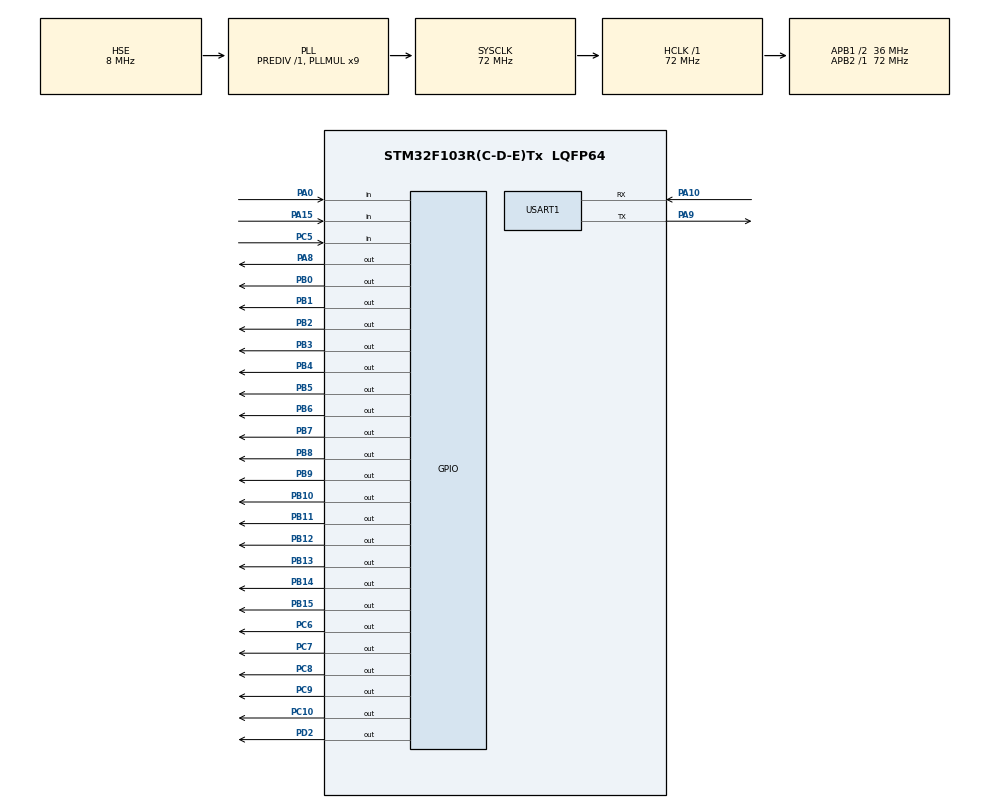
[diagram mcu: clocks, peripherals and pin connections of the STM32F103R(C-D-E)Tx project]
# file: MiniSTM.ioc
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Mcu.Family=STM32F1
Mcu.Name=STM32F103R(C-D-E)Tx
Mcu.Package=LQFP64
NVIC.PriorityGroup=NVIC_PRIORITYGROUP_4
PA0-WKUP.GPIO_PuPd=GPIO_PULLDOWN
PA0-WKUP.Signal=GPIO_Input
PA10.Mode=Asynchronous
PA10.Signal=USART1_RX
PA13.Mode=Serial_Wire
PA13.Signal=SYS_JTMS-SWDIO
PA14.Mode=Serial_Wire
PA14.Signal=SYS_JTCK-SWCLK
PA15.GPIO_PuPd=GPIO_PULLUP
PA15.Signal=GPIO_Input
PA8.GPIO_PuPd=GPIO_PULLUP
PA8.Signal=GPIO_Output
PA9.Mode=Asynchronous
PA9.Signal=USART1_TX
PB0.GPIO_PuPd=GPIO_PULLUP
PB0.GPIO_Speed=GPIO_SPEED_FREQ_HIGH
PB0.Signal=GPIO_Output
PB1.GPIO_PuPd=GPIO_PULLUP
PB1.GPIO_Speed=GPIO_SPEED_FREQ_HIGH
PB1.Signal=GPIO_Output
PB10.GPIO_PuPd=GPIO_PULLUP
PB10.GPIO_Speed=GPIO_SPEED_FREQ_HIGH
PB10.Signal=GPIO_Output
PB11.GPIO_PuPd=GPIO_PULLUP
PB11.GPIO_Speed=GPIO_SPEED_FREQ_HIGH
PB11.Signal=GPIO_Output
PB12.GPIO_PuPd=GPIO_PULLUP
PB12.GPIO_Speed=GPIO_SPEED_FREQ_HIGH
PB12.Signal=GPIO_Output
PB13.GPIO_PuPd=GPIO_PULLUP
PB13.GPIO_Speed=GPIO_SPEED_FREQ_HIGH
PB13.Signal=GPIO_Output
PB14.GPIO_PuPd=GPIO_PULLUP
PB14.GPIO_Speed=GPIO_SPEED_FREQ_HIGH
PB14.Signal=GPIO_Output
PB15.GPIO_PuPd=GPIO_PULLUP
PB15.GPIO_Speed=GPIO_SPEED_FREQ_HIGH
PB15.Signal=GPIO_Output
PB2.GPIO_PuPd=GPIO_PULLUP
PB2.GPIO_Speed=GPIO_SPEED_FREQ_HIGH
PB2.Signal=GPIO_Output
PB3.GPIO_PuPd=GPIO_PULLUP
PB3.GPIO_Speed=GPIO_SPEED_FREQ_HIGH
PB3.Signal=GPIO_Output
PB4.GPIO_PuPd=GPIO_PULLUP
PB4.GPIO_Speed=GPIO_SPEED_FREQ_HIGH
PB4.Signal=GPIO_Output
PB5.GPIO_PuPd=GPIO_PULLUP
PB5.GPIO_Speed=GPIO_SPEED_FREQ_HIGH
PB5.Signal=GPIO_Output
PB6.GPIO_PuPd=GPIO_PULLUP
PB6.GPIO_Speed=GPIO_SPEED_FREQ_HIGH
PB6.Signal=GPIO_Output
PB7.GPIO_PuPd=GPIO_PULLUP
PB7.GPIO_Speed=GPIO_SPEED_FREQ_HIGH
PB7.Signal=GPIO_Output
PB8.GPIO_PuPd=GPIO_PULLUP
PB8.GPIO_Speed=GPIO_SPEED_FREQ_HIGH
PB8.Signal=GPIO_Output
PB9.GPIO_PuPd=GPIO_PULLUP
PB9.GPIO_Speed=GPIO_SPEED_FREQ_HIGH
PB9.Signal=GPIO_Output
PC10.GPIO_PuPd=GPIO_PULLUP
PC10.GPIO_Speed=GPIO_SPEED_FREQ_HIGH
PC10.Signal=GPIO_Output
PC14-OSC32_IN.Mode=LSE-External-Oscillator
PC14-OSC32_IN.Signal=RCC_OSC32_IN
PC15-OSC32_OUT.Mode=LSE-External-Oscillator
PC15-OSC32_OUT.Signal=RCC_OSC32_OUT
PC5.GPIO_PuPd=GPIO_PULLUP
PC5.Signal=GPIO_Input
PC6.GPIO_PuPd=GPIO_PULLUP
PC6.GPIO_Speed=GPIO_SPEED_FREQ_HIGH
PC6.Signal=GPIO_Output
PC7.GPIO_PuPd=GPIO_PULLUP
PC7.GPIO_Speed=GPIO_SPEED_FREQ_HIGH
PC7.Signal=GPIO_Output
PC8.GPIO_PuPd=GPIO_PULLUP
PC8.GPIO_Speed=GPIO_SPEED_FREQ_HIGH
PC8.Signal=GPIO_Output
PC9.GPIO_PuPd=GPIO_PULLUP
PC9.GPIO_Speed=GPIO_SPEED_FREQ_HIGH
PC9.Signal=GPIO_Output
PD0-OSC_IN.Mode=HSE-External-Oscillator
PD0-OSC_IN.Signal=RCC_OSC_IN
PD1-OSC_OUT.Mode=HSE-External-Oscillator
PD1-OSC_OUT.Signal=RCC_OSC_OUT
PD2.GPIO_PuPd=GPIO_PULLUP
PD2.Signal=GPIO_Output
ProjectManager.HeapSize=0x200
ProjectManager.StackSize=0x400
ProjectManager.TargetToolchain=MDK-ARM V5.32
RCC.AHBFreq_Value=72000000
RCC.APB1CLKDivider=RCC_HCLK_DIV2
RCC.APB1Freq_Value=36000000
RCC.APB1TimFreq_Value=72000000
RCC.APB2Freq_Value=72000000
RCC.APB2TimFreq_Value=72000000
RCC.HCLKFreq_Value=72000000
RCC.PLLMUL=RCC_PLL_MUL9
RCC.PLLSourceVirtual=RCC_PLLSOURCE_HSE
RCC.SYSCLKFreq_VALUE=72000000
RCC.SYSCLKSource=RCC_SYSCLKSOURCE_PLLCLK
RCC.USBFreq_Value=72000000
TIM4.AutoReloadPreload=TIM_AUTORELOAD_PRELOAD_DISABLE
TIM4.Channel-Output\ Compare1\ No\ Output=TIM_CHANNEL_1
TIM4.Period=1000
TIM4.Prescaler=8399
USART1.VirtualMode=VM_ASYNC
VP_TIM4_VS_ClockSourceITR.Mode=TriggerSource_ITR0
board=custom

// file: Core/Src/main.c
/* USER CODE BEGIN Header */
/**
 ******************************************************************************
 * @file           : main.c
 * @brief          : Main program body
 ******************************************************************************
 * @attention
 *
 * Copyright (c) 2022 STMicroelectronics.
 * All rights reserved.
 *
 * This software is licensed under terms that can be found in the LICENSE file
 * in the root directory of this software component.
 * If no LICENSE file comes with this software, it is provided AS-IS.
 *
 ******************************************************************************
 */
/* USER CODE END Header */
#include "main.h"
#include "tim.h"
#include "usart.h"
#include "gpio.h"

/* USER CODE BEGIN Includes */
#include "led.h"
#include "key.h"
#include "lcd.h"
#include "uart.h"
#include "usmart.h"
#include "stmflash.h"
/* USER CODE END Includes */

void SystemClock_Config(void);
/* USER CODE BEGIN PFP */
const uint8_t TEXT_Buffer[] = {"STM32 FLASH TEST"};
#define SIZE sizeof(TEXT_Buffer)
#define FLASH_SAVE_ADDR 0X08020000

/* USER CODE END PFP */

int main(void)
{
	/* USER CODE BEGIN 1 */
	uint8_t key = 0;
	uint16_t i = 0;
	uint8_t datatemp[SIZE];
	/* USER CODE END 1 */

	/* MCU Configuration--------------------------------------------------------*/

	/* Reset of all peripherals, Initializes the Flash interface and the Systick. */
	HAL_Init();

	/* Configure the system clock */
	SystemClock_Config();

	/* Initialize all configured peripherals */
	MX_GPIO_Init();
	MX_USART1_UART_Init();
	MX_TIM4_Init();
	/* USER CODE BEGIN 2 */
	LCD_Init();

	HAL_NVIC_EnableIRQ(TIM4_IRQn);
	HAL_NVIC_SetPriority(TIM4_IRQn, 9, 0);
	HAL_TIM_Base_Start_IT(&htim4);

	HAL_NVIC_EnableIRQ(USART1_IRQn);
	HAL_NVIC_SetPriority(USART1_IRQn, 9, 0);
	HAL_UART_Receive_IT(&huart1, (uint8_t *)aRxBuffer, RXBUFFERSIZE);

	POINT_COLOR = RED;
	LCD_ShowString(30, 50, 200, 16, 16, "Mini STM32");
	LCD_ShowString(30, 70, 200, 16, 16, "FLASH EEPROM TEST");
	LCD_ShowString(30, 90, 200, 16, 16, "ATOM@ALIENTEK");
	LCD_ShowString(30, 110, 200, 16, 16, "2019/11/15");
	LCD_ShowString(30, 130, 200, 16, 16, "KEY1:Write  KEY0:Read");
	POINT_COLOR = BLUE;
	/* USER CODE END 2 */

	/* Infinite loop */
	/* USER CODE BEGIN WHILE */
	while (1)
	{
		key = KEY_Scan(0);
		if (key == KEY1_PRES) // KEY1按下,写入STM32 FLASH
		{
			LCD_Fill(0, 170, 239, 319, WHITE); //清除半屏
			LCD_ShowString(30, 170, 200, 16, 16, "Start Write FLASH....");
			STMFLASH_Write(FLASH_SAVE_ADDR, (uint16_t *)TEXT_Buffer, SIZE);
			LCD_ShowString(30, 170, 200, 16, 16, "FLASH Write Finished!"); //提示传送完成
		}
		if (key == KEY0_PRES) // KEY0按下,读取字符串并显示
		{
			LCD_ShowString(30, 170, 200, 16, 16, "Start Read FLASH.... ");
			STMFLASH_Read(FLASH_SAVE_ADDR, (uint16_t *)datatemp, SIZE);
			LCD_ShowString(30, 170, 200, 16, 16, "The Data Readed Is:  "); //提示传送完成
			LCD_ShowString(30, 190, 200, 16, 16, datatemp);				   //显示读到的字符串
		}
		i++;
		HAL_Delay(10);
		if (i == 20)
		{
			LED0 = !LED0; //提示系统正在运行
			i = 0;
		}
		/* USER CODE END WHILE */

	}
}

void SystemClock_Config(void)
{
	RCC_OscInitTypeDef RCC_OscInitStruct = {0};
	RCC_ClkInitTypeDef RCC_ClkInitStruct = {0};

	/** Initializes the RCC Oscillators according to the specified parameters
	 * in the RCC_OscInitTypeDef structure.
	 */
	RCC_OscInitStruct.OscillatorType = RCC_OSCILLATORTYPE_HSE;
	RCC_OscInitStruct.HSEState = RCC_HSE_ON;
	RCC_OscInitStruct.HSEPredivValue = RCC_HSE_PREDIV_DIV1;
	RCC_OscInitStruct.HSIState = RCC_HSI_ON;
	RCC_OscInitStruct.PLL.PLLState = RCC_PLL_ON;
	RCC_OscInitStruct.PLL.PLLSource = RCC_PLLSOURCE_HSE;
	RCC_OscInitStruct.PLL.PLLMUL = RCC_PLL_MUL9;
	if (HAL_RCC_OscConfig(&RCC_OscInitStruct) != HAL_OK)
	{
		Error_Handler();
	}

	/** Initializes the CPU, AHB and APB buses clocks
	 */
	RCC_ClkInitStruct.ClockType = RCC_CLOCKTYPE_HCLK | RCC_CLOCKTYPE_SYSCLK | RCC_CLOCKTYPE_PCLK1 | RCC_CLOCKTYPE_PCLK2;
	RCC_ClkInitStruct.SYSCLKSource = RCC_SYSCLKSOURCE_PLLCLK;
	RCC_ClkInitStruct.AHBCLKDivider = RCC_SYSCLK_DIV1;
	RCC_ClkInitStruct.APB1CLKDivider = RCC_HCLK_DIV2;
	RCC_ClkInitStruct.APB2CLKDivider = RCC_HCLK_DIV1;

	if (HAL_RCC_ClockConfig(&RCC_ClkInitStruct, FLASH_LATENCY_2) != HAL_OK)
	{
		Error_Handler();
	}
}

void Error_Handler(void)
{
	__disable_irq();
	while (1)
	{
	}
}
